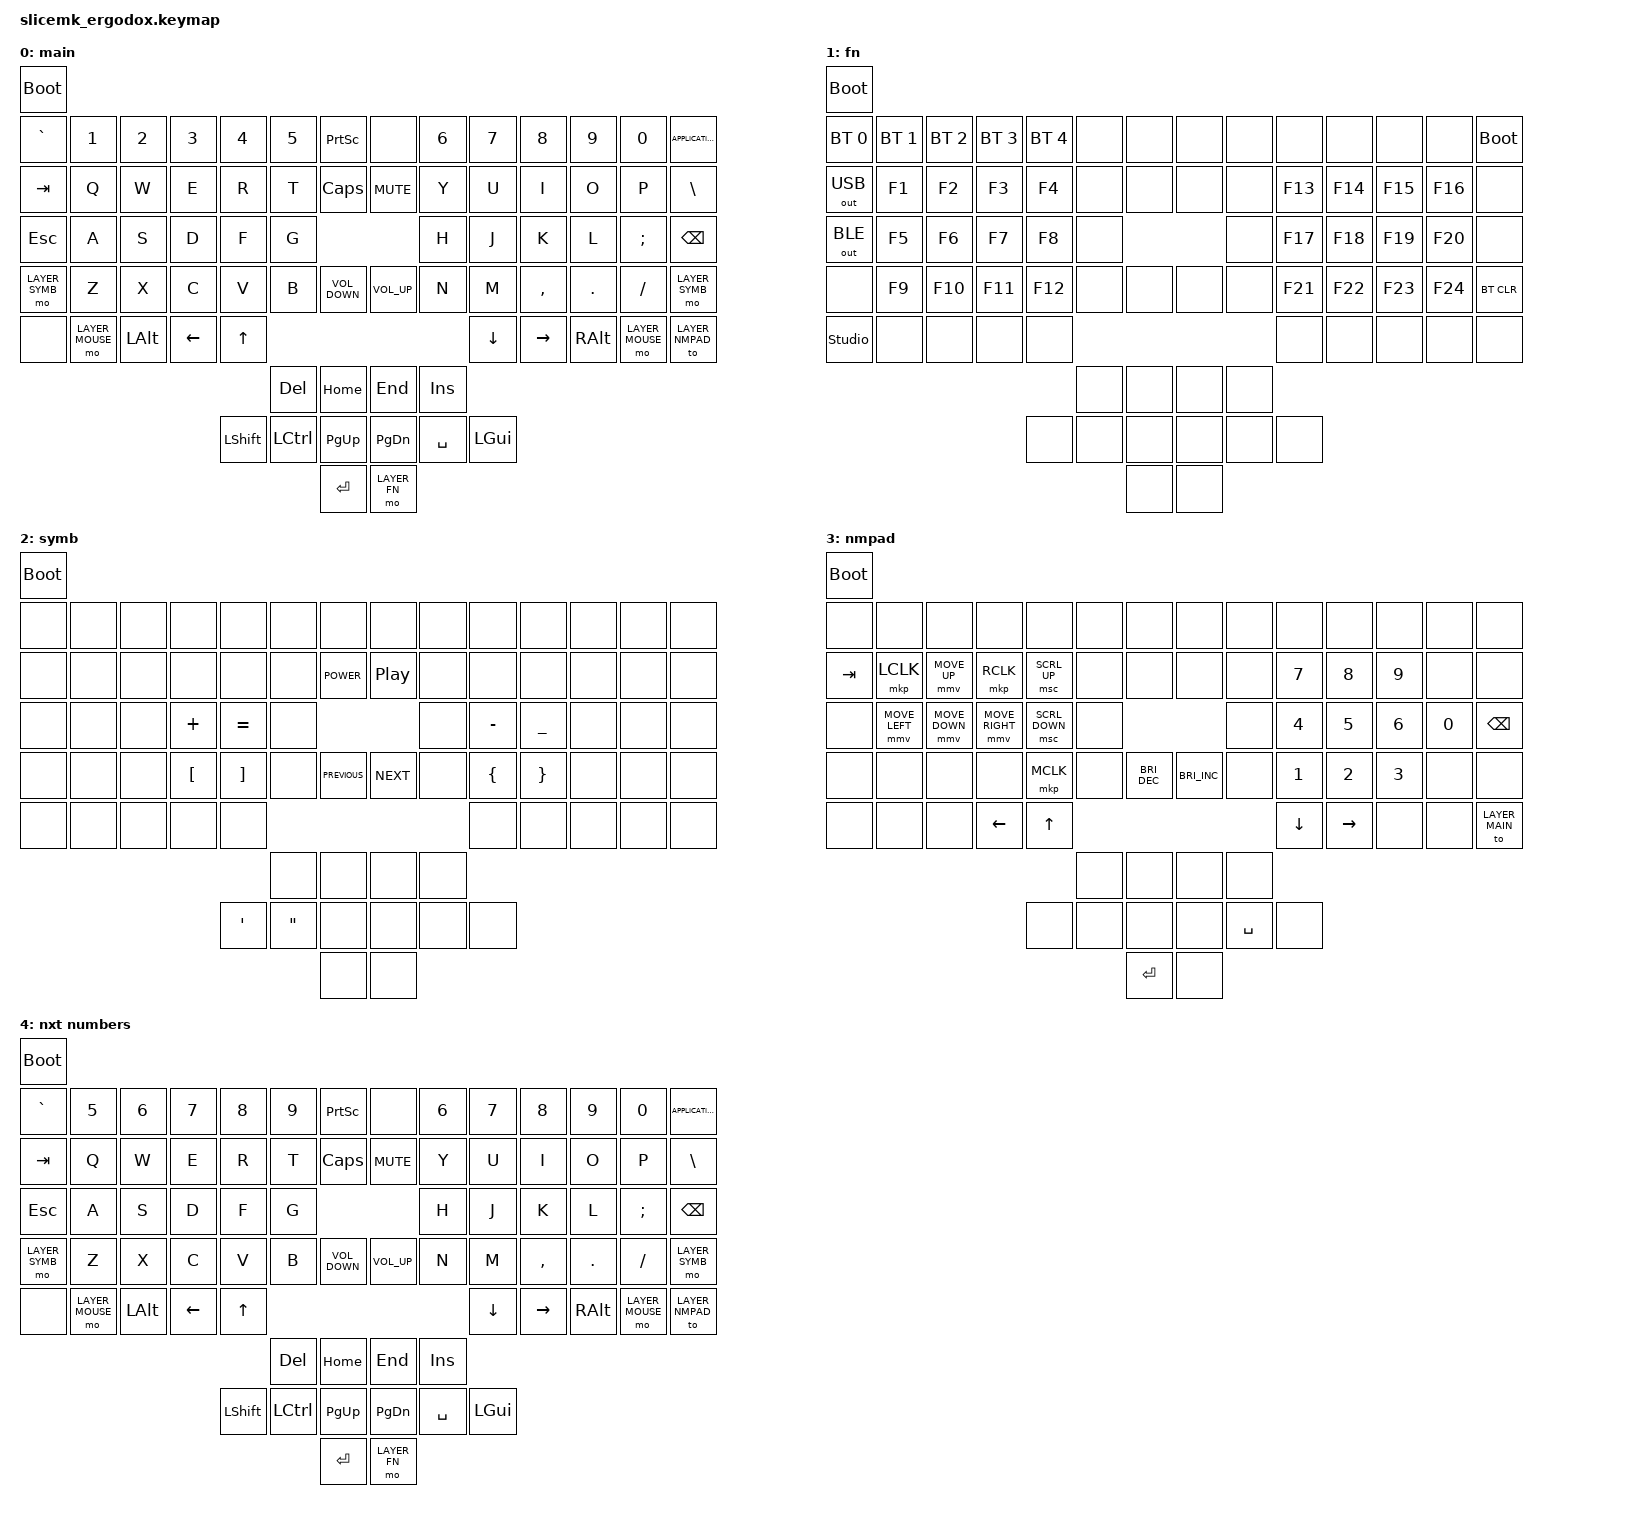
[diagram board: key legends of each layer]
#include <behaviors.dtsi>
#include <dt-bindings/zmk/bt.h>
#include <dt-bindings/zmk/keys.h>
#include <dt-bindings/zmk/outputs.h>
#include <dt-bindings/zmk/pointing.h>

#define LAYER_MAIN 0
#define LAYER_FN 1
#define LAYER_SYMB 2
#define LAYER_NMPAD 3
#define LAYER_MOUSE 4

/ {
	keymap {
		compatible = "zmk,keymap";

		layer_0 {
			display-name = "main";
			bindings = <
				&bootloader
				&kp GRAVE      &kp NUMBER_1    &kp NUMBER_2 &kp NUMBER_3   &kp NUMBER_4   &kp NUMBER_5     &kp PRINTSCREEN   &none           &kp NUMBER_6 &kp NUMBER_7   &kp NUMBER_8    &kp NUMBER_9  &kp NUMBER_0    &kp K_APPLICATION
				&kp TAB        &kp Q           &kp W        &kp E          &kp R          &kp T            &kp CAPSLOCK      &kp C_MUTE      &kp Y        &kp U          &kp I           &kp O         &kp P           &kp BACKSLASH
				&kp ESCAPE     &kp A           &kp S        &kp D          &kp F          &kp G                                              &kp H        &kp J          &kp K           &kp L         &kp SEMICOLON   &kp BACKSPACE
				&mo LAYER_SYMB &kp Z           &kp X        &kp C          &kp V          &kp B            &kp C_VOLUME_DOWN &kp C_VOLUME_UP &kp N        &kp M          &kp COMMA       &kp PERIOD    &kp SLASH       &mo LAYER_SYMB
				&none          &mo LAYER_MOUSE &kp LEFT_ALT &kp LEFT_ARROW &kp UP_ARROW                                                                   &kp DOWN_ARROW &kp RIGHT_ARROW &kp RIGHT_ALT &mo LAYER_MOUSE &to LAYER_NMPAD
				                                                                          &kp DELETE       &kp HOME          &kp END         &kp INSERT
				                                                           &kp LEFT_SHIFT &kp LEFT_CONTROL &kp PAGE_UP       &kp PAGE_DOWN   &kp SPACE    &kp LEFT_GUI
				                                                                                           &kp RETURN        &mo LAYER_FN
			>;
		};

		layer_1 {
			display-name = "fn";
			bindings = <
				&bootloader
				&bt BT_SEL 0 &bt BT_SEL 1 &bt BT_SEL 2 &bt BT_SEL 3 &bt BT_SEL 4 &none &none &none &none &none   &none   &none   &none   &bootloader
				&out OUT_USB &kp F1       &kp F2       &kp F3       &kp F4       &none &none &none &none &kp F13 &kp F14 &kp F15 &kp F16 &none
				&out OUT_BLE &kp F5       &kp F6       &kp F7       &kp F8       &none             &none &kp F17 &kp F18 &kp F19 &kp F20 &none
				&none        &kp F9       &kp F10      &kp F11      &kp F12      &none &none &none &none &kp F21 &kp F22 &kp F23 &kp F24 &bt BT_CLR
				&studio_unlock        &none        &none        &none        &none                                &none   &none   &none   &none   &none
				                                                                 &none &none &none &none
				                                                    &none        &none &none &none &none &none
				                                                                       &none &none
			>;
		};

		layer_2 {
			display-name = "symb";
			bindings = <
				&bootloader
				&none &none &none &none            &none             &none             &none          &none            &none &none          &none           &none &none &none
				&none &none &none &none            &none             &none             &kp C_POWER    &kp C_PLAY_PAUSE &none &none          &none           &none &none &none
				&none &none &none &kp PLUS         &kp EQUAL         &none                                             &none &kp MINUS      &kp UNDERSCORE  &none &none &none
				&none &none &none &kp LEFT_BRACKET &kp RIGHT_BRACKET &none             &kp C_PREVIOUS &kp C_NEXT       &none &kp LEFT_BRACE &kp RIGHT_BRACE &none &none &none
				&none &none &none &none            &none                                                                     &none          &none           &none &none &none
				                                                     &none             &none          &none            &none
				                                   &kp SINGLE_QUOTE  &kp DOUBLE_QUOTES &none          &none            &none &none
				                                                                       &none          &none
			>;
		};

		layer_3 {
			display-name = "nmpad";
			bindings = <
				&bootloader
				&none   &none     &none        &none          &none        &none &none                &none                &none     &none          &none           &none        &none        &none
				&kp TAB &mkp LCLK     &mmv MOVE_UP        &mkp RCLK          &msc SCRL_UP       &none &none                &none                &none     &kp NUMBER_7   &kp NUMBER_8    &kp NUMBER_9 &none        &none
				&none   &mmv MOVE_LEFT &mmv MOVE_DOWN &mmv MOVE_RIGHT      &msc SCRL_DOWN     &none                                           &none     &kp NUMBER_4   &kp NUMBER_5    &kp NUMBER_6 &kp NUMBER_0 &kp BACKSPACE
				&none   &none     &none        &none          &mkp MCLK   &none &kp C_BRIGHTNESS_DEC &kp C_BRIGHTNESS_INC &none     &kp NUMBER_1   &kp NUMBER_2    &kp NUMBER_3 &none        &none
				&none   &none     &none        &kp LEFT_ARROW &kp UP_ARROW                                                           &kp DOWN_ARROW &kp RIGHT_ARROW &none        &none        &to LAYER_MAIN
				                                                           &none &none                &none                &none
				                                              &none        &none &none                &none                &kp SPACE &none
				                                                                 &kp RETURN           &none
			>;
		};

		layer_4 {
			display-name = "nxt numbers";
			bindings = <
				&bootloader
				&kp GRAVE      &kp NUMBER_5    &kp NUMBER_6 &kp NUMBER_7   &kp NUMBER_8   &kp NUMBER_9     &kp PRINTSCREEN   &none           &kp NUMBER_6 &kp NUMBER_7   &kp NUMBER_8    &kp NUMBER_9  &kp NUMBER_0    &kp K_APPLICATION
				&kp TAB        &kp Q           &kp W        &kp E          &kp R          &kp T            &kp CAPSLOCK      &kp C_MUTE      &kp Y        &kp U          &kp I           &kp O         &kp P           &kp BACKSLASH
				&kp ESCAPE     &kp A           &kp S        &kp D          &kp F          &kp G                                              &kp H        &kp J          &kp K           &kp L         &kp SEMICOLON   &kp BACKSPACE
				&mo LAYER_SYMB &kp Z           &kp X        &kp C          &kp V          &kp B            &kp C_VOLUME_DOWN &kp C_VOLUME_UP &kp N        &kp M          &kp COMMA       &kp PERIOD    &kp SLASH       &mo LAYER_SYMB
				&none          &mo LAYER_MOUSE &kp LEFT_ALT &kp LEFT_ARROW &kp UP_ARROW                                                                   &kp DOWN_ARROW &kp RIGHT_ARROW &kp RIGHT_ALT &mo LAYER_MOUSE &to LAYER_NMPAD
				                                                                          &kp DELETE       &kp HOME          &kp END         &kp INSERT
				                                                           &kp LEFT_SHIFT &kp LEFT_CONTROL &kp PAGE_UP       &kp PAGE_DOWN   &kp SPACE    &kp LEFT_GUI
				                                                                                           &kp RETURN        &mo LAYER_FN
			>;
		};
	};
};
